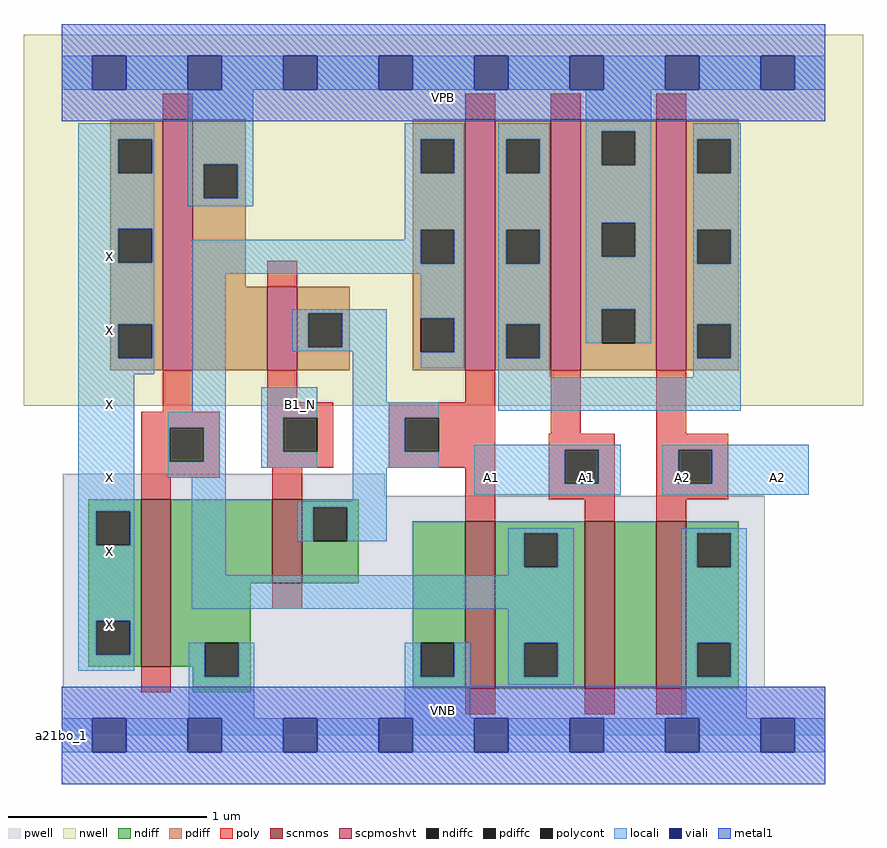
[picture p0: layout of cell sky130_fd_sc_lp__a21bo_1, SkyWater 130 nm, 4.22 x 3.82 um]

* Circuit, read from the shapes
.subckt sky130_fd_sc_lp__a21bo_1 A1 A2 B1_N VGND VNB VPB VPWR X
XM1 VGND n1 X VNB sky130_fd_pr__nfet_01v8 w=0.84 l=0.15
XM2 n2 B1_N VGND VNB sky130_fd_pr__nfet_01v8 w=0.42 l=0.15
XM3 n1 n2 VGND VNB sky130_fd_pr__nfet_01v8 w=0.84 l=0.15
XM4 n3 A1 n1 VNB sky130_fd_pr__nfet_01v8 w=0.84 l=0.15
XM5 VGND A2 n3 VNB sky130_fd_pr__nfet_01v8 w=0.84 l=0.15
XM6 VPWR n1 X VPB sky130_fd_pr__pfet_01v8_hvt w=1.26 l=0.15
XM7 n2 B1_N VPWR VPB sky130_fd_pr__pfet_01v8_hvt w=0.42 l=0.15
XM8 n4 n2 n1 VPB sky130_fd_pr__pfet_01v8_hvt w=1.26 l=0.15
XM9 VPWR A1 n4 VPB sky130_fd_pr__pfet_01v8_hvt w=1.26 l=0.15
XM10 n4 A2 VPWR VPB sky130_fd_pr__pfet_01v8_hvt w=1.26 l=0.15
.ends

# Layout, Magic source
magic
tech sky130A
magscale 1 2
<< nwell >>
rect -38 331 806 704
<< pwell >>
rect 1 241 325 263
rect 1 49 707 241
rect 0 0 768 49
<< scnmos >>
rect 80 69 110 237
rect 212 153 242 237
rect 406 47 436 215
rect 526 47 556 215
rect 598 47 628 215
<< scpmoshvt >>
rect 102 367 132 619
rect 207 367 237 451
rect 406 367 436 619
rect 492 367 522 619
rect 598 367 628 619
<< ndiff >>
rect 27 225 80 237
rect 27 191 35 225
rect 69 191 80 225
rect 27 115 80 191
rect 27 81 35 115
rect 69 81 80 115
rect 27 69 80 81
rect 110 153 212 237
rect 242 229 299 237
rect 242 195 253 229
rect 287 195 299 229
rect 242 153 299 195
rect 110 93 190 153
rect 110 69 144 93
rect 132 59 144 69
rect 178 59 190 93
rect 132 43 190 59
rect 353 93 406 215
rect 353 59 361 93
rect 395 59 406 93
rect 353 47 406 59
rect 436 203 526 215
rect 436 169 465 203
rect 499 169 526 203
rect 436 93 526 169
rect 436 59 465 93
rect 499 59 526 93
rect 436 47 526 59
rect 556 47 598 215
rect 628 203 681 215
rect 628 169 639 203
rect 673 169 681 203
rect 628 93 681 169
rect 628 59 639 93
rect 673 59 681 93
rect 628 47 681 59
<< pdiff >>
rect 49 599 102 619
rect 49 565 57 599
rect 91 565 102 599
rect 49 509 102 565
rect 49 475 57 509
rect 91 475 102 509
rect 49 413 102 475
rect 49 379 57 413
rect 91 379 102 413
rect 49 367 102 379
rect 132 574 185 619
rect 132 540 143 574
rect 177 540 185 574
rect 132 451 185 540
rect 353 599 406 619
rect 353 565 361 599
rect 395 565 406 599
rect 353 508 406 565
rect 353 474 361 508
rect 395 474 406 508
rect 132 367 207 451
rect 237 424 290 451
rect 237 390 248 424
rect 282 390 290 424
rect 237 367 290 390
rect 353 419 406 474
rect 353 385 361 419
rect 395 385 406 419
rect 353 367 406 385
rect 436 599 492 619
rect 436 565 447 599
rect 481 565 492 599
rect 436 508 492 565
rect 436 474 447 508
rect 481 474 492 508
rect 436 413 492 474
rect 436 379 447 413
rect 481 379 492 413
rect 436 367 492 379
rect 522 607 598 619
rect 522 573 543 607
rect 577 573 598 607
rect 522 515 598 573
rect 522 481 543 515
rect 577 481 598 515
rect 522 428 598 481
rect 522 394 543 428
rect 577 394 598 428
rect 522 367 598 394
rect 628 599 681 619
rect 628 565 639 599
rect 673 565 681 599
rect 628 508 681 565
rect 628 474 639 508
rect 673 474 681 508
rect 628 413 681 474
rect 628 379 639 413
rect 673 379 681 413
rect 628 367 681 379
<< ndiffc >>
rect 35 191 69 225
rect 35 81 69 115
rect 253 195 287 229
rect 144 59 178 93
rect 361 59 395 93
rect 465 169 499 203
rect 465 59 499 93
rect 639 169 673 203
rect 639 59 673 93
<< pdiffc >>
rect 57 565 91 599
rect 57 475 91 509
rect 57 379 91 413
rect 143 540 177 574
rect 361 565 395 599
rect 361 474 395 508
rect 248 390 282 424
rect 361 385 395 419
rect 447 565 481 599
rect 447 474 481 508
rect 447 379 481 413
rect 543 573 577 607
rect 543 481 577 515
rect 543 394 577 428
rect 639 565 673 599
rect 639 474 673 508
rect 639 379 673 413
<< poly >>
rect 102 619 132 645
rect 406 619 436 645
rect 492 619 522 645
rect 598 619 628 645
rect 207 451 237 477
rect 102 325 132 367
rect 207 335 237 367
rect 406 335 436 367
rect 80 309 159 325
rect 80 275 109 309
rect 143 275 159 309
rect 80 259 159 275
rect 207 319 273 335
rect 207 285 223 319
rect 257 285 273 319
rect 207 269 273 285
rect 329 319 436 335
rect 329 285 345 319
rect 379 285 436 319
rect 492 303 522 367
rect 598 303 628 367
rect 329 269 436 285
rect 80 237 110 259
rect 212 237 242 269
rect 406 215 436 269
rect 490 287 556 303
rect 490 253 506 287
rect 540 253 556 287
rect 490 237 556 253
rect 526 215 556 237
rect 598 287 670 303
rect 598 253 620 287
rect 654 253 670 287
rect 598 237 670 253
rect 598 215 628 237
rect 212 127 242 153
rect 80 43 110 69
rect 406 21 436 47
rect 526 21 556 47
rect 598 21 628 47
<< polycont >>
rect 109 275 143 309
rect 223 285 257 319
rect 345 285 379 319
rect 506 253 540 287
rect 620 253 654 287
<< locali >>
rect 0 649 31 683
rect 65 649 127 683
rect 161 649 223 683
rect 257 649 319 683
rect 353 649 415 683
rect 449 649 511 683
rect 545 649 607 683
rect 641 649 703 683
rect 737 649 768 683
rect 17 599 93 615
rect 17 565 57 599
rect 91 565 93 599
rect 17 509 93 565
rect 127 574 193 649
rect 127 540 143 574
rect 177 540 193 574
rect 127 532 193 540
rect 345 599 405 615
rect 345 565 361 599
rect 395 565 405 599
rect 17 475 57 509
rect 91 475 93 509
rect 345 508 405 565
rect 345 498 361 508
rect 17 413 93 475
rect 17 379 57 413
rect 91 379 93 413
rect 17 363 93 379
rect 131 474 361 498
rect 395 474 405 508
rect 131 464 405 474
rect 17 225 73 363
rect 131 325 165 464
rect 232 424 327 428
rect 232 390 248 424
rect 282 390 327 424
rect 232 386 327 390
rect 107 309 165 325
rect 107 275 109 309
rect 143 275 165 309
rect 107 259 165 275
rect 201 319 257 350
rect 201 285 223 319
rect 201 269 257 285
rect 293 335 327 386
rect 361 419 405 464
rect 395 385 405 419
rect 361 369 405 385
rect 439 599 491 615
rect 439 565 447 599
rect 481 565 491 599
rect 439 508 491 565
rect 439 474 447 508
rect 481 474 491 508
rect 439 413 491 474
rect 439 379 447 413
rect 481 379 491 413
rect 527 607 593 649
rect 527 573 543 607
rect 577 573 593 607
rect 527 515 593 573
rect 527 481 543 515
rect 577 481 593 515
rect 527 428 593 481
rect 527 394 543 428
rect 577 394 593 428
rect 635 599 683 615
rect 635 565 639 599
rect 673 565 683 599
rect 635 508 683 565
rect 635 474 639 508
rect 673 474 683 508
rect 635 413 683 474
rect 439 360 491 379
rect 635 379 639 413
rect 673 379 683 413
rect 635 360 683 379
rect 293 319 379 335
rect 439 326 683 360
rect 293 285 345 319
rect 293 269 379 285
rect 415 287 562 292
rect 17 191 35 225
rect 69 191 73 225
rect 17 115 73 191
rect 131 161 165 259
rect 293 235 327 269
rect 415 253 506 287
rect 540 253 562 287
rect 415 242 562 253
rect 604 287 751 292
rect 604 253 620 287
rect 654 253 751 287
rect 604 242 751 253
rect 237 229 327 235
rect 237 195 253 229
rect 287 195 327 229
rect 449 203 515 208
rect 449 169 465 203
rect 499 169 515 203
rect 449 161 515 169
rect 131 127 515 161
rect 17 81 35 115
rect 69 81 73 115
rect 449 93 515 127
rect 17 65 73 81
rect 128 59 144 93
rect 178 59 194 93
rect 128 17 194 59
rect 345 59 361 93
rect 395 59 411 93
rect 345 17 411 59
rect 449 59 465 93
rect 499 59 515 93
rect 449 51 515 59
rect 623 203 689 208
rect 623 169 639 203
rect 673 169 689 203
rect 623 93 689 169
rect 623 59 639 93
rect 673 59 689 93
rect 623 17 689 59
rect 0 -17 31 17
rect 65 -17 127 17
rect 161 -17 223 17
rect 257 -17 319 17
rect 353 -17 415 17
rect 449 -17 511 17
rect 545 -17 607 17
rect 641 -17 703 17
rect 737 -17 768 17
<< viali >>
rect 31 649 65 683
rect 127 649 161 683
rect 223 649 257 683
rect 319 649 353 683
rect 415 649 449 683
rect 511 649 545 683
rect 607 649 641 683
rect 703 649 737 683
rect 31 -17 65 17
rect 127 -17 161 17
rect 223 -17 257 17
rect 319 -17 353 17
rect 415 -17 449 17
rect 511 -17 545 17
rect 607 -17 641 17
rect 703 -17 737 17
<< metal1 >>
rect 0 683 768 715
rect 0 649 31 683
rect 65 649 127 683
rect 161 649 223 683
rect 257 649 319 683
rect 353 649 415 683
rect 449 649 511 683
rect 545 649 607 683
rect 641 649 703 683
rect 737 649 768 683
rect 0 617 768 649
rect 0 17 768 49
rect 0 -17 31 17
rect 65 -17 127 17
rect 161 -17 223 17
rect 257 -17 319 17
rect 353 -17 415 17
rect 449 -17 511 17
rect 545 -17 607 17
rect 641 -17 703 17
rect 737 -17 768 17
rect 0 -49 768 -17
<< labels >>
flabel pwell s 0 0 768 49 0 FreeSans 200 0 0 0 VNB
port 5 nsew ground bidirectional
flabel nwell s 0 617 768 666 0 FreeSans 200 0 0 0 VPB
port 6 nsew power bidirectional
rlabel comment s 0 0 0 0 4 a21bo_1
flabel metal1 s 0 617 768 666 0 FreeSans 340 0 0 0 VPWR
port 7 nsew power bidirectional
flabel metal1 s 0 0 768 49 0 FreeSans 340 0 0 0 VGND
port 4 nsew ground bidirectional
flabel locali s 415 242 449 276 0 FreeSans 340 0 0 0 A1
port 1 nsew signal input
flabel locali s 511 242 545 276 0 FreeSans 340 0 0 0 A1
port 1 nsew signal input
flabel locali s 607 242 641 276 0 FreeSans 340 0 0 0 A2
port 2 nsew signal input
flabel locali s 703 242 737 276 0 FreeSans 340 0 0 0 A2
port 2 nsew signal input
flabel locali s 223 316 257 350 0 FreeSans 340 0 0 0 B1_N
port 3 nsew signal input
flabel locali s 31 94 65 128 0 FreeSans 340 0 0 0 X
port 8 nsew signal output
flabel locali s 31 168 65 202 0 FreeSans 340 0 0 0 X
port 8 nsew signal output
flabel locali s 31 242 65 276 0 FreeSans 340 0 0 0 X
port 8 nsew signal output
flabel locali s 31 316 65 350 0 FreeSans 340 0 0 0 X
port 8 nsew signal output
flabel locali s 31 390 65 424 0 FreeSans 340 0 0 0 X
port 8 nsew signal output
flabel locali s 31 464 65 498 0 FreeSans 340 0 0 0 X
port 8 nsew signal output
<< properties >>
string LEFsite unit
string LEFclass CORE
string FIXED_BBOX 0 0 768 666
string GDS_FILE $PDKPATH/libs.ref/sky130_fd_sc_lp/gds/sky130_fd_sc_lp.gds
string LEFsymmetry X Y R90
string GDS_END 3770668
string GDS_START 3763218
<< end >>
